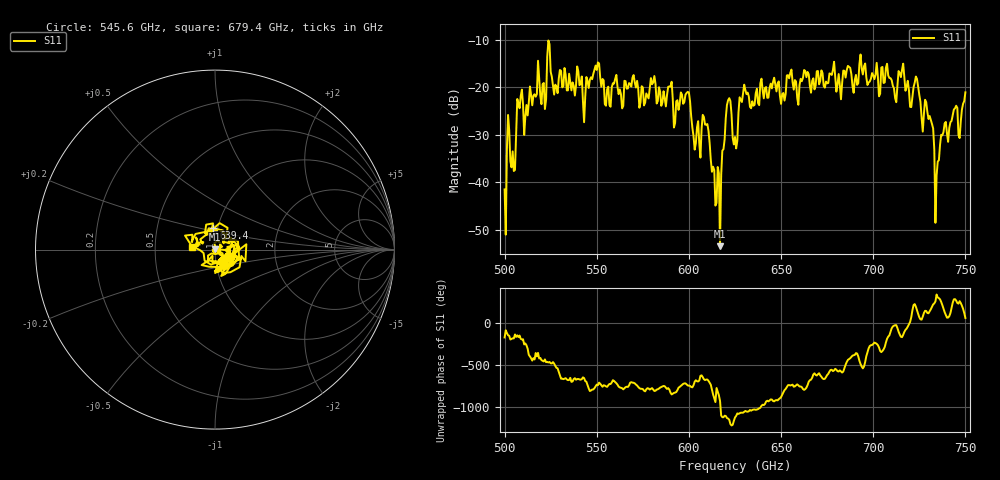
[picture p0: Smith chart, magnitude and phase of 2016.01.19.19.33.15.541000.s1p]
!Created with skrf (http://scikit-rf.org).
# GHz S RI R 50.0
!freq ReS11 ImS11
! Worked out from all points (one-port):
!   401 points, 500 GHz to 750 GHz, reference 50 ohm
!   lowest |S11| = -53.5 dB at 616.9 GHz (marker M1), VSWR 1.00, Z = 49.8 + j0.0967 ohm
!   |S11| at or under -10 dB: start of sweep to end of sweep
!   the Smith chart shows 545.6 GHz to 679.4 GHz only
!   S11 on the Smith chart (normalised r, x): 545.6 GHz: 1.09, -0.18; 639.4 GHz: 0.95, +0.24; 679.4 GHz: 0.78, +0.02
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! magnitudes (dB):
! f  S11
! 500 GHz  -41.5
! 502.5 GHz  -29.2
! 505 GHz  -37.7
! 508.1 GHz  -24.5
! 521.2 GHz  -19.1
! 524.4 GHz  -11.0
! 527.5 GHz  -19.5
! 531.2 GHz  -20.1
! 545.6 GHz  -20.2
! 562.5 GHz  -20.5
! 580.6 GHz  -19.0
! 593.8 GHz  -22.8
! 605 GHz  -27.2
! 608.8 GHz  -27.9
! 615.6 GHz  -36.8
! 616.9 GHz  -53.5
! 621.2 GHz  -22.8
! 625 GHz  -30.5
! 628.8 GHz  -23.2
! 639.4 GHz  -18.2
! 656.2 GHz  -19.0
! 679.4 GHz  -18.0
! 687.5 GHz  -16.0
! 718.8 GHz  -18.7
! 729.4 GHz  -25.3
! 734.4 GHz  -38.6
! 738.1 GHz  -29.4
! 750 GHz  -21.1
